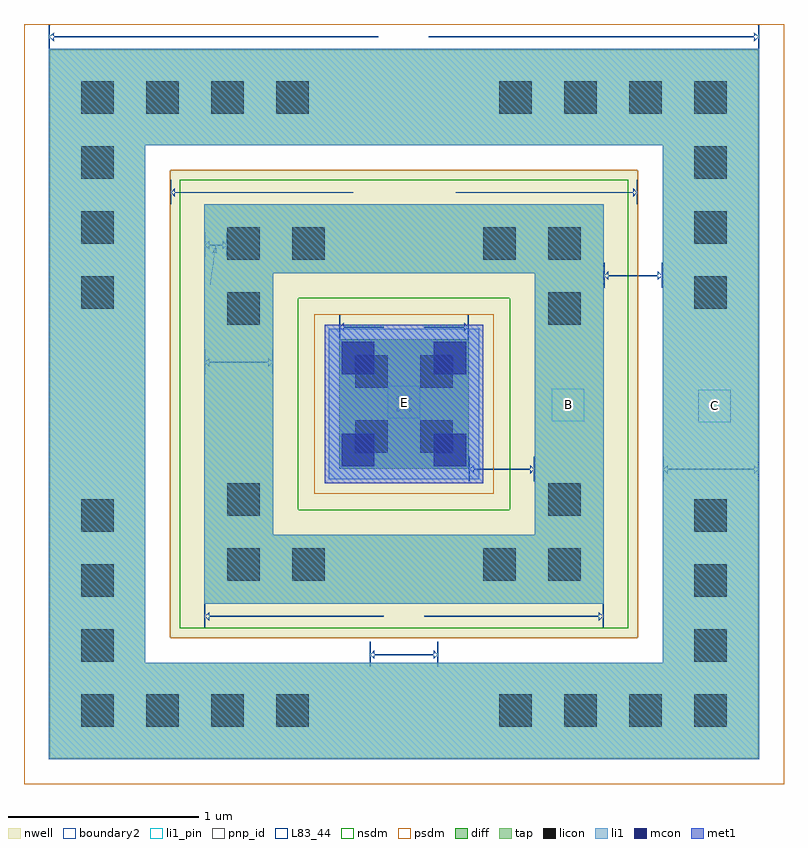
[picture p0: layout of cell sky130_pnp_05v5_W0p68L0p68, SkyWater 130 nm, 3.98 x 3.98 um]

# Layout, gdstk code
import gdstk
lib = gdstk.Library(unit=1e-6, precision=1e-09)
def R(c, l, rs):  # rectangles x0, y0, x1, y1
    for r in rs: c.add(gdstk.rectangle(r[:2], r[2:], *l))
def A(c, l, x, y, w, h, nx, ny, dx, dy):  # array of equal rectangles
    R(c, l, [(x+i*dx, y+j*dy, x+i*dx+w, y+j*dy+h) for i in range(nx) for j in range(ny)])
def P(c, l, *ps):  # polygons
    for p in ps: c.add(gdstk.Polygon(p, *l))
nwell = (64, 20)
diff = (65, 20)
tap = (65, 44)
licon = (66, 44)
li1_pin = (67, 16)
li1 = (67, 20)
mcon = (67, 44)
met1 = (68, 20)
pnp_id = (82, 44)
L83_44 = (83, 44)
nsdm = (93, 44)
psdm = (94, 20)
boundary2 = (236, 0)

sky130_pnp_05v5_w0p68l0p = lib.new_cell('sky130_pnp_05v5_W0p68L0p68')
R(sky130_pnp_05v5_w0p68l0p, nwell, [(0.765,0.765,3.215,3.215)])
R(sky130_pnp_05v5_w0p68l0p, diff, [(1.65,1.65,2.33,2.33)])
P(sky130_pnp_05v5_w0p68l0p, tap, [(0.13,0.13),(0.13,3.85),(3.345,3.85),(3.345,3.345),(0.635,3.345),(0.635,0.635),(3.345,0.635),(3.345,3.85),(3.85,3.85),(3.85,0.13)],
  [(0.945,0.945),(0.945,3.035),(2.675,3.035),(2.675,2.675),(1.305,2.675),(1.305,1.305),(2.675,1.305),(2.675,3.035),(3.035,3.035),(3.035,0.945)])
A(sky130_pnp_05v5_w0p68l0p, licon, 0.3, 0.3, 0.17, 0.17, 4, 2, 0.34, 3.21)
A(sky130_pnp_05v5_w0p68l0p, licon, 2.49, 0.3, 0.17, 0.17, 4, 2, 0.34, 3.21)
A(sky130_pnp_05v5_w0p68l0p, licon, 0.3, 0.64, 0.17, 0.17, 1, 3, 0, 0.34)
A(sky130_pnp_05v5_w0p68l0p, licon, 3.51, 0.64, 0.17, 0.17, 1, 3, 0, 0.34)
A(sky130_pnp_05v5_w0p68l0p, licon, 0.3, 2.49, 0.17, 0.17, 1, 3, 0, 0.34)
A(sky130_pnp_05v5_w0p68l0p, licon, 3.51, 2.49, 0.17, 0.17, 1, 3, 0, 0.34)
R(sky130_pnp_05v5_w0p68l0p, licon, [(1.065,1.065,1.235,1.235), (1.405,1.065,1.575,1.235), (2.405,1.065,2.575,1.235), (2.745,1.065,2.915,1.235), (1.065,1.405,1.235,1.575), (2.745,1.405,2.915,1.575), (1.735,1.735,1.905,1.905), (2.075,1.735,2.245,1.905), (1.735,2.075,1.905,2.245), (2.075,2.075,2.245,2.245), (1.065,2.405,1.235,2.575), (2.745,2.405,2.915,2.575), (1.065,2.745,1.235,2.915), (1.405,2.745,1.575,2.915), (2.405,2.745,2.575,2.915), (2.745,2.745,2.915,2.915)])
R(sky130_pnp_05v5_w0p68l0p, li1_pin, [(3.53,1.895,3.7,2.065), (2.765,1.9,2.935,2.07), (1.905,1.915,2.075,2.085)])
R(sky130_pnp_05v5_w0p68l0p, li1, [(1.595,1.595,2.385,2.385)])
P(sky130_pnp_05v5_w0p68l0p, li1, [(0.13,0.13),(0.13,3.85),(3.345,3.85),(3.345,3.345),(0.635,3.345),(0.635,0.635),(3.345,0.635),(3.345,3.85),(3.85,3.85),(3.85,0.13)],
  [(0.945,0.945),(0.945,3.035),(2.675,3.035),(2.675,2.675),(1.305,2.675),(1.305,1.305),(2.675,1.305),(2.675,3.035),(3.035,3.035),(3.035,0.945)])
R(sky130_pnp_05v5_w0p68l0p, mcon, [(1.665,1.665,1.835,1.835), (2.145,1.665,2.315,1.835), (1.665,2.145,1.835,2.315), (2.145,2.145,2.315,2.315)])
R(sky130_pnp_05v5_w0p68l0p, met1, [(1.575,1.575,2.405,2.405)])
R(sky130_pnp_05v5_w0p68l0p, pnp_id, [(0.135,0.135,3.845,3.845)])
P(sky130_pnp_05v5_w0p68l0p, L83_44, [(1.81,0.615),(1.81,0.745),(1.815,0.745),(1.815,0.68),(1.835,0.7),(1.835,0.68),(2.145,0.68),(2.145,0.7),(2.165,0.68),(2.165,0.745),(2.17,0.745),(2.17,0.615),(2.165,0.615),(2.165,0.675),(2.145,0.655),(2.145,0.675),(1.835,0.675),(1.835,0.655),(1.815,0.675),(1.815,0.615)],
  [(0.945,0.815),(0.945,0.945),(0.95,0.945),(0.95,0.88),(0.97,0.9),(0.97,0.88),(1.885,0.88),(1.885,0.875),(0.97,0.875),(0.97,0.855),(0.95,0.875),(0.95,0.815)],
  [(3.03,0.815),(3.03,0.875),(3.01,0.855),(3.01,0.875),(2.095,0.875),(2.095,0.88),(3.01,0.88),(3.01,0.9),(3.03,0.88),(3.03,0.945),(3.035,0.945),(3.035,0.815)],
  [(2.33,1.585),(2.33,1.715),(2.335,1.715),(2.335,1.65),(2.355,1.67),(2.355,1.65),(2.65,1.65),(2.65,1.67),(2.67,1.65),(2.67,1.715),(2.675,1.715),(2.675,1.585),(2.67,1.585),(2.67,1.645),(2.65,1.625),(2.65,1.645),(2.355,1.645),(2.355,1.625),(2.335,1.645),(2.335,1.585)],
  [(3.345,1.585),(3.345,1.715),(3.35,1.715),(3.35,1.65),(3.37,1.67),(3.37,1.65),(3.825,1.65),(3.825,1.67),(3.845,1.65),(3.845,1.715),(3.85,1.715),(3.85,1.585),(3.845,1.585),(3.845,1.645),(3.825,1.625),(3.825,1.645),(3.37,1.645),(3.37,1.625),(3.35,1.645),(3.35,1.585)],
  [(1.96,1.95),(1.95,1.96),(1.98,1.99),(1.95,2.02),(1.96,2.03),(1.99,2),(2.02,2.03),(2.03,2.02),(2,1.99),(2.03,1.96),(2.02,1.95),(1.99,1.98)],
  [(0.945,2.145),(0.945,2.275),(0.95,2.275),(0.95,2.21),(0.97,2.23),(0.97,2.21),(1.28,2.21),(1.28,2.23),(1.3,2.21),(1.3,2.275),(1.305,2.275),(1.305,2.145),(1.3,2.145),(1.3,2.205),(1.28,2.185),(1.28,2.205),(0.97,2.205),(0.97,2.185),(0.95,2.205),(0.95,2.145)],
  [(1.65,2.33),(1.65,2.46),(1.655,2.46),(1.655,2.395),(1.675,2.415),(1.675,2.395),(1.885,2.395),(1.885,2.39),(1.675,2.39),(1.675,2.37),(1.655,2.39),(1.655,2.33)],
  [(2.325,2.33),(2.325,2.39),(2.305,2.37),(2.305,2.39),(2.095,2.39),(2.095,2.395),(2.305,2.395),(2.305,2.415),(2.325,2.395),(2.325,2.46),(2.33,2.46),(2.33,2.33)],
  [(3.035,2.6),(3.035,2.73),(3.04,2.73),(3.04,2.665),(3.06,2.685),(3.06,2.665),(3.32,2.665),(3.32,2.685),(3.34,2.665),(3.34,2.73),(3.345,2.73),(3.345,2.6),(3.34,2.6),(3.34,2.66),(3.32,2.64),(3.32,2.66),(3.06,2.66),(3.06,2.64),(3.04,2.66),(3.04,2.6)],
  [(0.975,2.615),(0.975,2.62),(1,2.785),(0.985,2.78),(1.005,2.815),(1.01,2.78),(1,2.785)],
  [(0.945,2.76),(0.945,2.89),(0.95,2.89),(0.95,2.825),(0.97,2.845),(0.97,2.825),(1.04,2.825),(1.04,2.845),(1.06,2.825),(1.06,2.89),(1.065,2.89),(1.065,2.76),(1.06,2.76),(1.06,2.82),(1.04,2.8),(1.04,2.82),(0.97,2.82),(0.97,2.8),(0.95,2.82),(0.95,2.76)],
  [(0.765,3.035),(0.765,3.165),(0.77,3.165),(0.77,3.1),(0.79,3.12),(0.79,3.1),(1.725,3.1),(1.725,3.095),(0.79,3.095),(0.79,3.075),(0.77,3.095),(0.77,3.035)],
  [(3.21,3.035),(3.21,3.095),(3.19,3.075),(3.19,3.095),(2.26,3.095),(2.26,3.1),(3.19,3.1),(3.19,3.12),(3.21,3.1),(3.21,3.165),(3.215,3.165),(3.215,3.035)],
  [(0.13,3.85),(0.13,3.98),(0.135,3.98),(0.135,3.915),(0.155,3.935),(0.155,3.915),(1.855,3.915),(1.855,3.91),(0.155,3.91),(0.155,3.89),(0.135,3.91),(0.135,3.85)],
  [(3.845,3.85),(3.845,3.91),(3.825,3.89),(3.825,3.91),(2.12,3.91),(2.12,3.915),(3.825,3.915),(3.825,3.935),(3.845,3.915),(3.845,3.98),(3.85,3.98),(3.85,3.85)])
P(sky130_pnp_05v5_w0p68l0p, nsdm, [(0.815,0.815),(0.815,3.165),(2.545,3.165),(2.545,2.545),(1.435,2.545),(1.435,1.435),(2.545,1.435),(2.545,3.165),(3.165,3.165),(3.165,0.815)])
R(sky130_pnp_05v5_w0p68l0p, psdm, [(1.52,1.52,2.46,2.46)])
P(sky130_pnp_05v5_w0p68l0p, psdm, [(0,0),(0,3.98),(3.215,3.98),(3.215,3.215),(0.765,3.215),(0.765,0.765),(3.215,0.765),(3.215,3.98),(3.98,3.98),(3.98,0)])
R(sky130_pnp_05v5_w0p68l0p, boundary2, [(0.13,0.13,3.85,3.85)])
sky130_pnp_05v5_w0p68l0p.add(gdstk.Label('B', (2.85,1.985), layer=67, texttype=5))
sky130_pnp_05v5_w0p68l0p.add(gdstk.Label('C', (3.615,1.98), layer=67, texttype=5))
sky130_pnp_05v5_w0p68l0p.add(gdstk.Label('E', (1.99,2), layer=67, texttype=5))

lib.write_gds('sky130_pnp_05v5_W0p68L0p68.gds')
